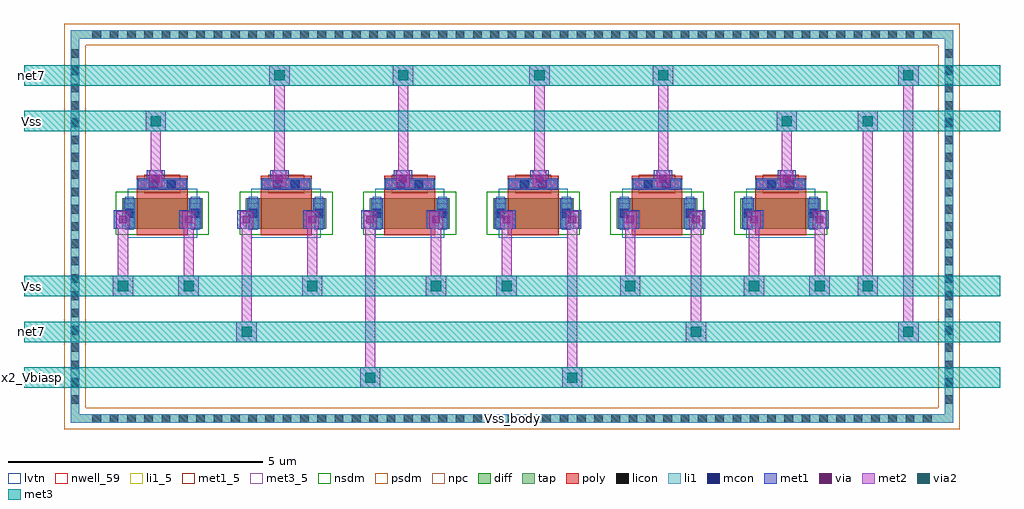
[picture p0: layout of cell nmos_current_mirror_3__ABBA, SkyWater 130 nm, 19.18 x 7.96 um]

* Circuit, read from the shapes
.subckt nmos_current_mirror_3__ABBA Vss Vss_body net7 x2_Vbiasp
XM1 Vss Vss Vss Vss_body sky130_fd_pr__nfet_01v8_lvt w=0.6 l=1 m=2
XM2 Vss net7 net7 Vss_body sky130_fd_pr__nfet_01v8_lvt w=0.6 l=1 m=2
XM3 Vss net7 x2_Vbiasp Vss_body sky130_fd_pr__nfet_01v8_lvt w=0.6 l=1 m=2
.ends

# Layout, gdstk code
from math import pi, radians
import gdstk
lib = gdstk.Library(unit=1e-6, precision=1e-09)
def R(c, l, rs):  # rectangles x0, y0, x1, y1
    for r in rs: c.add(gdstk.rectangle(r[:2], r[2:], *l))
def A(c, l, x, y, w, h, nx, ny, dx, dy):  # array of equal rectangles
    R(c, l, [(x+i*dx, y+j*dy, x+i*dx+w, y+j*dy+h) for i in range(nx) for j in range(ny)])
nwell_59 = (64, 59)
diff = (65, 20)
tap = (65, 44)
poly = (66, 20)
licon = (66, 44)
li1_5 = (67, 5)
li1 = (67, 20)
mcon = (67, 44)
met1_5 = (68, 5)
met1 = (68, 20)
via = (68, 44)
met2 = (69, 20)
via2 = (69, 44)
met3_5 = (70, 5)
met3 = (70, 20)
nsdm = (93, 44)
psdm = (94, 20)
npc = (95, 20)
lvtn = (125, 44)

sky130_fd_pr__nfet_01v8_ = lib.new_cell('sky130_fd_pr__nfet_01v8_lvt_MHCJX9')
R(sky130_fd_pr__nfet_01v8_, diff, [(-0.79,-0.455,0.79,0.145)])
R(sky130_fd_pr__nfet_01v8_, poly, [(-0.5,-0.585,0.5,0.585)])
R(sky130_fd_pr__nfet_01v8_, licon, [(-0.73,-0.24,-0.56,-0.07), (0.56,-0.24,0.73,-0.07), (-0.255,0.335,-0.085,0.505), (0.085,0.335,0.255,0.505)])
R(sky130_fd_pr__nfet_01v8_, li1, [(-0.73,-0.475,-0.56,0.165), (0.56,-0.475,0.73,0.165), (-0.5,0.335,0.5,0.505)])
R(sky130_fd_pr__nfet_01v8_, mcon, [(-0.73,-0.24,-0.56,-0.07), (0.56,-0.24,0.73,-0.07), (-0.265,0.335,-0.095,0.505), (0.095,0.335,0.265,0.505)])
R(sky130_fd_pr__nfet_01v8_, met1, [(-0.76,-0.455,-0.53,0.145), (0.53,-0.455,0.76,0.145), (-0.48,0.305,0.48,0.535)])
R(sky130_fd_pr__nfet_01v8_, nsdm, [(-0.915,-0.58,0.915,0.27)])
R(sky130_fd_pr__nfet_01v8_, npc, [(-0.355,0.235,0.355,0.605)])
R(sky130_fd_pr__nfet_01v8_, lvtn, [(-0.68,-0.635,0.68,0.325)])
sky130_fd_pr__nfet_01v8_.add(gdstk.Label('D', (-0.645,-0.155), layer=67, texttype=5))
sky130_fd_pr__nfet_01v8_.add(gdstk.Label('S', (0.645,-0.155), layer=67, texttype=5))
sky130_fd_pr__nfet_01v8_.add(gdstk.Label('G', (0,0.42), layer=67, texttype=5))

nfet_01v8_lvt_w0p6_l1_m2 = lib.new_cell('nfet_01v8_lvt_W0p6_L1_m2__nf1_gtop_sdfull_ng')
R(nfet_01v8_lvt_w0p6_l1_m2, nwell_59, [(0.05,0.38,0.15,0.48)])
R(nfet_01v8_lvt_w0p6_l1_m2, met1_5, [(0.03,0.43,0.26,0.63), (1.32,0.43,1.55,0.63), (0.31,0.89,1.27,1.12)])
R(nfet_01v8_lvt_w0p6_l1_m2, met1, [(0.03,0.43,0.26,0.63), (1.32,0.43,1.55,0.63), (0.31,0.89,1.27,1.12)])
nfet_01v8_lvt_w0p6_l1_m2.add(gdstk.Reference(sky130_fd_pr__nfet_01v8_, (0.79,0.585)))
nfet_01v8_lvt_w0p6_l1_m2.add(gdstk.Label('D', (0.145,0.53), layer=68, texttype=5))
nfet_01v8_lvt_w0p6_l1_m2.add(gdstk.Label('S', (1.435,0.53), layer=68, texttype=5))
nfet_01v8_lvt_w0p6_l1_m2.add(gdstk.Label('G', (0.79,1.005), layer=68, texttype=5))
nfet_01v8_lvt_w0p6_l1_m2.add(gdstk.Label('B', (0.1,0.43), layer=64, texttype=59))

nmos_current_mirror_3__a = lib.new_cell('nmos_current_mirror_3__ABBA')
R(nmos_current_mirror_3__a, tap, [(-0.885,-3.685,16.465,-3.515), (-0.885,-3.515,-0.715,3.855), (16.295,-3.515,16.465,3.855), (-0.885,3.855,16.465,4.025)])
A(nmos_current_mirror_3__a, licon, -0.455, -3.685, 0.17, 0.17, 49, 2, 0.34, 7.54)
A(nmos_current_mirror_3__a, licon, -0.885, -3.315, 0.17, 0.17, 1, 21, 0, 0.34)
A(nmos_current_mirror_3__a, licon, 16.295, -3.315, 0.17, 0.17, 1, 21, 0, 0.34)
R(nmos_current_mirror_3__a, li1_5, [(7.74,-3.65,7.84,-3.55)])
R(nmos_current_mirror_3__a, li1, [(-0.885,-3.685,16.465,-3.515), (-0.885,-3.515,-0.715,3.855), (16.295,-3.515,16.465,3.855), (-0.885,3.855,16.465,4.025)])
A(nmos_current_mirror_3__a, met1, 0.61, 0.92, 0.36, 0.36, 3, 1, 2.43, 0)
A(nmos_current_mirror_3__a, met1, 8.15, 0.92, 0.36, 0.36, 3, 1, 2.43, 0)
R(nmos_current_mirror_3__a, met1, [(-0.035,0.13,0.325,0.49), (1.255,0.13,1.615,0.49), (2.395,0.13,2.755,0.49), (3.685,0.13,4.045,0.49), (4.825,0.13,5.185,0.49), (6.115,0.13,6.475,0.49), (7.505,0.13,7.865,0.49), (8.795,0.13,9.155,0.49), (9.935,0.13,10.295,0.49), (11.225,0.13,11.585,0.49), (12.365,0.13,12.725,0.49), (13.655,0.13,14.015,0.49)])
A(nmos_current_mirror_3__a, via, 0.715, 1.025, 0.15, 0.15, 3, 1, 2.43, 0)
A(nmos_current_mirror_3__a, via, 8.255, 1.025, 0.15, 0.15, 3, 1, 2.43, 0)
R(nmos_current_mirror_3__a, via, [(0.07,0.235,0.22,0.385), (1.36,0.235,1.51,0.385), (2.5,0.235,2.65,0.385), (3.79,0.235,3.94,0.385), (4.93,0.235,5.08,0.385), (6.22,0.235,6.37,0.385), (7.61,0.235,7.76,0.385), (8.9,0.235,9.05,0.385), (10.04,0.235,10.19,0.385), (11.33,0.235,11.48,0.385), (12.47,0.235,12.62,0.385), (13.76,0.235,13.91,0.385)])
A(nmos_current_mirror_3__a, met2, 1.235, -1.2, 0.4, 0.4, 3, 1, 2.43, 0)
A(nmos_current_mirror_3__a, met2, 7.485, -1.2, 0.4, 0.4, 3, 1, 2.43, 0)
A(nmos_current_mirror_3__a, met2, 1.335, -0.8, 0.2, 0.95, 3, 1, 2.43, 0)
A(nmos_current_mirror_3__a, met2, 7.585, -0.8, 0.2, 0.95, 3, 1, 2.43, 0)
A(nmos_current_mirror_3__a, met2, 0.66, 0.94, 0.26, 0.32, 3, 1, 2.43, 0)
A(nmos_current_mirror_3__a, met2, 8.2, 0.94, 0.26, 0.32, 3, 1, 2.43, 0)
R(nmos_current_mirror_3__a, met2, [(4.805,-3,5.205,-2.6), (8.775,-3,9.175,-2.6), (4.905,-2.6,5.105,0.15), (8.875,-2.6,9.075,0.15), (2.375,-2.1,2.775,-1.7), (11.205,-2.1,11.605,-1.7), (15.38,-2.1,15.78,-1.7), (2.475,-1.7,2.675,0.15), (11.305,-1.7,11.505,0.15), (15.48,-1.7,15.68,2.94), (-0.055,-1.2,0.345,-0.8), (13.635,-1.2,14.035,-0.8), (14.58,-1.2,14.98,-0.8), (0.045,-0.8,0.245,0.15), (13.735,-0.8,13.935,0.15), (14.68,-0.8,14.88,2.04), (0.015,0.15,0.275,0.47), (1.305,0.15,1.565,0.47), (2.445,0.15,2.705,0.47), (3.735,0.15,3.995,0.47), (4.875,0.15,5.135,0.47), (6.165,0.15,6.425,0.47), (7.555,0.15,7.815,0.47), (8.845,0.15,9.105,0.47), (9.985,0.15,10.245,0.47), (11.275,0.15,11.535,0.47), (12.415,0.15,12.675,0.47), (13.705,0.15,13.965,0.47), (0.69,1.26,0.89,2.04), (3.12,1.26,3.32,2.94), (5.55,1.26,5.75,2.94), (8.23,1.26,8.43,2.94), (10.66,1.26,10.86,2.94), (13.09,1.26,13.29,2.04), (0.59,2.04,0.99,2.44), (12.99,2.04,13.39,2.44), (14.58,2.04,14.98,2.44), (3.02,2.94,3.42,3.34), (5.45,2.94,5.85,3.34), (8.13,2.94,8.53,3.34), (10.56,2.94,10.96,3.34), (15.38,2.94,15.78,3.34)])
A(nmos_current_mirror_3__a, via2, 1.335, -1.1, 0.2, 0.2, 3, 1, 2.43, 0)
A(nmos_current_mirror_3__a, via2, 7.585, -1.1, 0.2, 0.2, 3, 1, 2.43, 0)
R(nmos_current_mirror_3__a, via2, [(4.905,-2.9,5.105,-2.7), (8.875,-2.9,9.075,-2.7), (2.475,-2,2.675,-1.8), (11.305,-2,11.505,-1.8), (15.48,-2,15.68,-1.8), (0.045,-1.1,0.245,-0.9), (13.735,-1.1,13.935,-0.9), (14.68,-1.1,14.88,-0.9), (0.69,2.14,0.89,2.34), (13.09,2.14,13.29,2.34), (14.68,2.14,14.88,2.34), (3.12,3.04,3.32,3.24), (5.55,3.04,5.75,3.24), (8.23,3.04,8.43,3.24), (10.66,3.04,10.86,3.24), (15.48,3.04,15.68,3.24)])
A(nmos_current_mirror_3__a, met3_5, -1.7, -2.85, 0.1, 0.1, 1, 3, 0, 0.9)
R(nmos_current_mirror_3__a, met3_5, [(-1.7,2.19,-1.6,2.29), (-1.7,3.09,-1.6,3.19)])
A(nmos_current_mirror_3__a, met3, -1.8, -3, 19.18, 0.4, 1, 3, 0, 0.9)
R(nmos_current_mirror_3__a, met3, [(-1.8,2.04,17.38,2.44), (-1.8,2.94,17.38,3.34)])
R(nmos_current_mirror_3__a, psdm, [(-1.01,-3.81,16.59,-3.39), (-1.01,-3.39,-0.59,3.73), (16.17,-3.39,16.59,3.73), (-1.01,3.73,16.59,4.15)])
nmos_current_mirror_3__a.add(gdstk.Reference(nfet_01v8_lvt_w0p6_l1_m2, (13.86,0), rotation=pi, x_reflection=True))
nmos_current_mirror_3__a.add(gdstk.Reference(nfet_01v8_lvt_w0p6_l1_m2, (11.43,0), rotation=pi, x_reflection=True))
nmos_current_mirror_3__a.add(gdstk.Reference(nfet_01v8_lvt_w0p6_l1_m2, (9,0), rotation=pi, x_reflection=True))
nmos_current_mirror_3__a.add(gdstk.Reference(nfet_01v8_lvt_w0p6_l1_m2, (4.99,0)))
nmos_current_mirror_3__a.add(gdstk.Reference(nfet_01v8_lvt_w0p6_l1_m2, (2.56,0)))
nmos_current_mirror_3__a.add(gdstk.Reference(nfet_01v8_lvt_w0p6_l1_m2, (0.13,0)))
nmos_current_mirror_3__a.add(gdstk.Label('Vss', (-1.65,2.24), layer=70, texttype=5))
nmos_current_mirror_3__a.add(gdstk.Label('net7', (-1.65,3.14), layer=70, texttype=5))
nmos_current_mirror_3__a.add(gdstk.Label('Vss', (-1.65,-1), layer=70, texttype=5))
nmos_current_mirror_3__a.add(gdstk.Label('net7', (-1.65,-1.9), layer=70, texttype=5))
nmos_current_mirror_3__a.add(gdstk.Label('x2_Vbiasp', (-1.65,-2.8), layer=70, texttype=5))
nmos_current_mirror_3__a.add(gdstk.Label('Vss_body', (7.79,-3.6), layer=67, texttype=5))

lib.write_gds('nmos_current_mirror_3__ABBA.gds')
